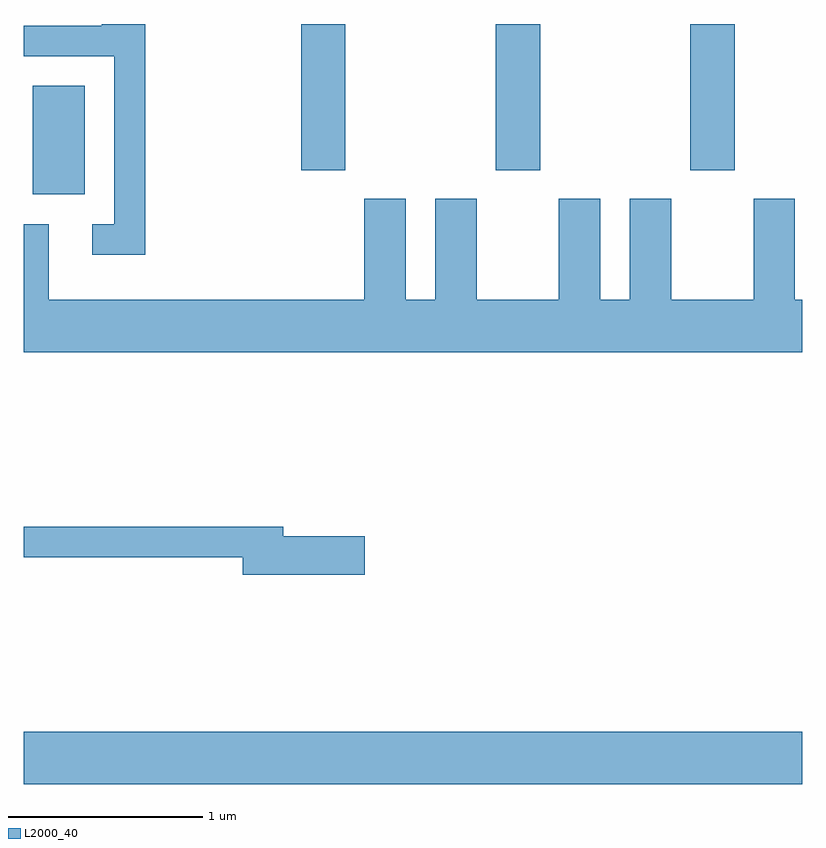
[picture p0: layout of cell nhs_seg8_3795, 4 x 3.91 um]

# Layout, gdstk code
import gdstk
lib = gdstk.Library(unit=1e-6, precision=1e-09)
def R(c, l, rs):  # rectangles x0, y0, x1, y1
    for r in rs: c.add(gdstk.rectangle(r[:2], r[2:], *l))
def A(c, l, x, y, w, h, nx, ny, dx, dy):  # array of equal rectangles
    R(c, l, [(x+i*dx, y+j*dy, x+i*dx+w, y+j*dy+h) for i in range(nx) for j in range(ny)])
def P(c, l, *ps):  # polygons
    for p in ps: c.add(gdstk.Polygon(p, *l))
L2000_40 = (2000, 40)

nhs_seg8_3795 = lib.new_cell('nhs_seg8_3795')
A(nhs_seg8_3795, L2000_40, 301.036, 1819.591, 0.228, 0.751, 3, 1, 1, 0)
R(nhs_seg8_3795, L2000_40, [(299.611,1816.436,303.611,1816.704), (299.656,1819.466,299.924,1820.024)])
P(nhs_seg8_3795, L2000_40, [(300.234,1820.342),(300.011,1820.342),(300.011,1820.334),(299.611,1820.334),(299.611,1820.176),(300.076,1820.176),(300.076,1819.314),(299.963,1819.314),(299.963,1819.156),(300.234,1819.156)],
  [(301.361,1819.444),(301.361,1818.924),(299.739,1818.924),(299.739,1819.314),(299.611,1819.314),(299.611,1818.656),(303.611,1818.656),(303.611,1818.924),(303.574,1818.924),(303.574,1819.444),(303.361,1819.444),(303.361,1818.924),(302.939,1818.924),(302.939,1819.444),(302.726,1819.444),(302.726,1818.924),(302.574,1818.924),(302.574,1819.444),(302.361,1819.444),(302.361,1818.924),(301.939,1818.924),(301.939,1819.444),(301.726,1819.444),(301.726,1818.924),(301.574,1818.924),(301.574,1819.444)],
  [(301.364,1817.709),(300.944,1817.709),(300.944,1817.759),(299.611,1817.759),(299.611,1817.601),(300.736,1817.601),(300.736,1817.511),(301.364,1817.511)])

lib.write_gds('nhs_seg8_3795.gds')
